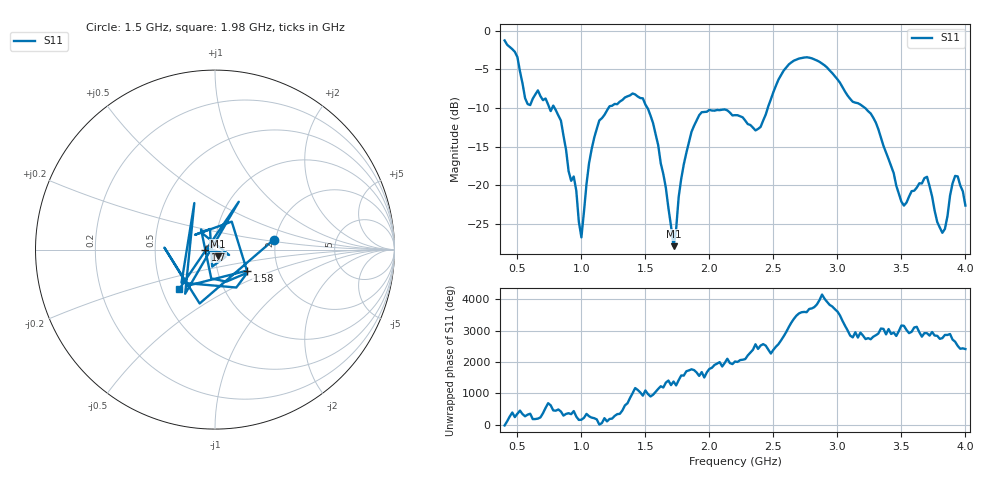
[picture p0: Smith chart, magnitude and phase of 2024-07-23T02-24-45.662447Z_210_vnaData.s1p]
!Created with skrf (http://scikit-rf.org).
# Hz S RI R 50.0
!freq ReS11 ImS11
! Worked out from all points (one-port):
!   181 points, 400 MHz to 4 GHz, reference 50 ohm
!   lowest |S11| = -27.9 dB at 1.72 GHz (marker M1), VSWR 1.08, Z = 51.5 - j3.81 ohm
!   |S11| at or under -10 dB: 790.2 MHz to 1.212 GHz (421.7 MHz wide, 42.1 % of centre); 1.516 GHz to 2.456 GHz (940.2 MHz wide, 47.3 % of centre); 3.215 GHz to end of sweep (the widest 3 of 4)
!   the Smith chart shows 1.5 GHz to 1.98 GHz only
!   S11 on the Smith chart (normalised r, x): 1.5 GHz: 1.95, +0.24; 1.58 GHz: 1.38, -0.34; 1.7 GHz: 0.90, -0.00; 1.98 GHz: 0.61, -0.30
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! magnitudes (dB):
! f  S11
! 400 MHz  -1.3
! 500 MHz  -3.4
! 580 MHz  -9.5
! 660 MHz  -7.7
! 860 MHz  -13.6
! 960 MHz  -20.7
! 1 GHz  -26.7
! 1.1 GHz  -13.9
! 1.3 GHz  -9.2
! 1.5 GHz  -9.6
! 1.58 GHz  -13.4
! 1.7 GHz  -25.2
! 1.72 GHz  -27.9
! 1.76 GHz  -21.5
! 1.86 GHz  -13.1
! 1.98 GHz  -10.5
! 2.2 GHz  -10.9
! 2.4 GHz  -12.5
! 2.66 GHz  -3.9
! 2.88 GHz  -4.3
! 3.1 GHz  -8.8
! 3.28 GHz  -11.3
! 3.5 GHz  -22.1
! 3.56 GHz  -21.5
! 3.7 GHz  -18.9
! 3.82 GHz  -26.1
! 3.92 GHz  -18.8
! 4 GHz  -22.6
